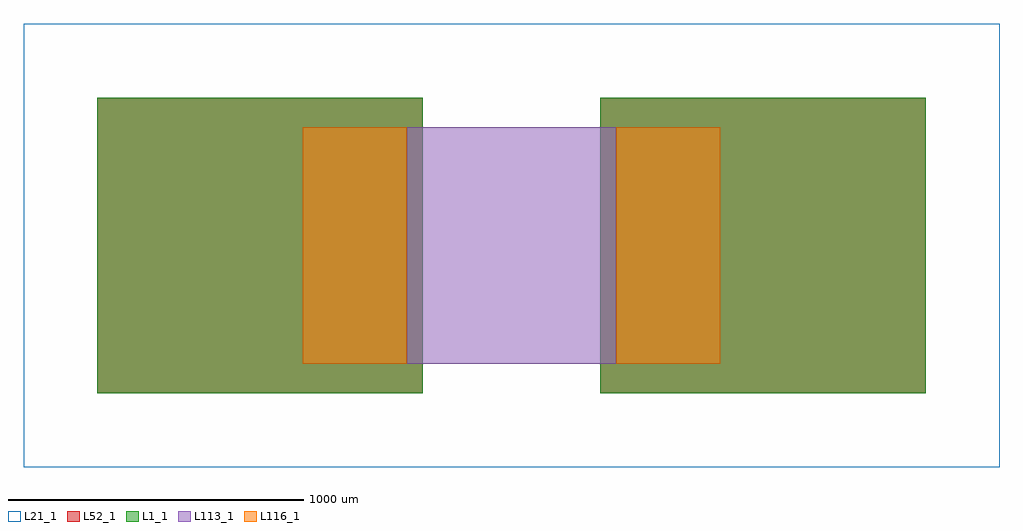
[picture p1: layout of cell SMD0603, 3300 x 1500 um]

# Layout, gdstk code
import gdstk
lib = gdstk.Library(unit=1e-6, precision=1e-09)
def R(c, l, rs):  # rectangles x0, y0, x1, y1
    for r in rs: c.add(gdstk.rectangle(r[:2], r[2:], *l))
L1_1 = (1, 1)
L21_1 = (21, 1)
L52_1 = (52, 1)
L113_1 = (113, 1)
L116_1 = (116, 1)

smd0603 = lib.new_cell('SMD0603')
R(smd0603, L1_1, [(0,0,1100,1000), (1700,0,2800,1000)])
R(smd0603, L21_1, [(-250,-250,3050,1250)])
R(smd0603, L52_1, [(0,0,1100,1000), (1700,0,2800,1000)])
R(smd0603, L113_1, [(1045,100,1755,900)])
R(smd0603, L116_1, [(695,100,1045,900), (1755,100,2105,900)])

lib.write_gds('SMD0603.gds')
